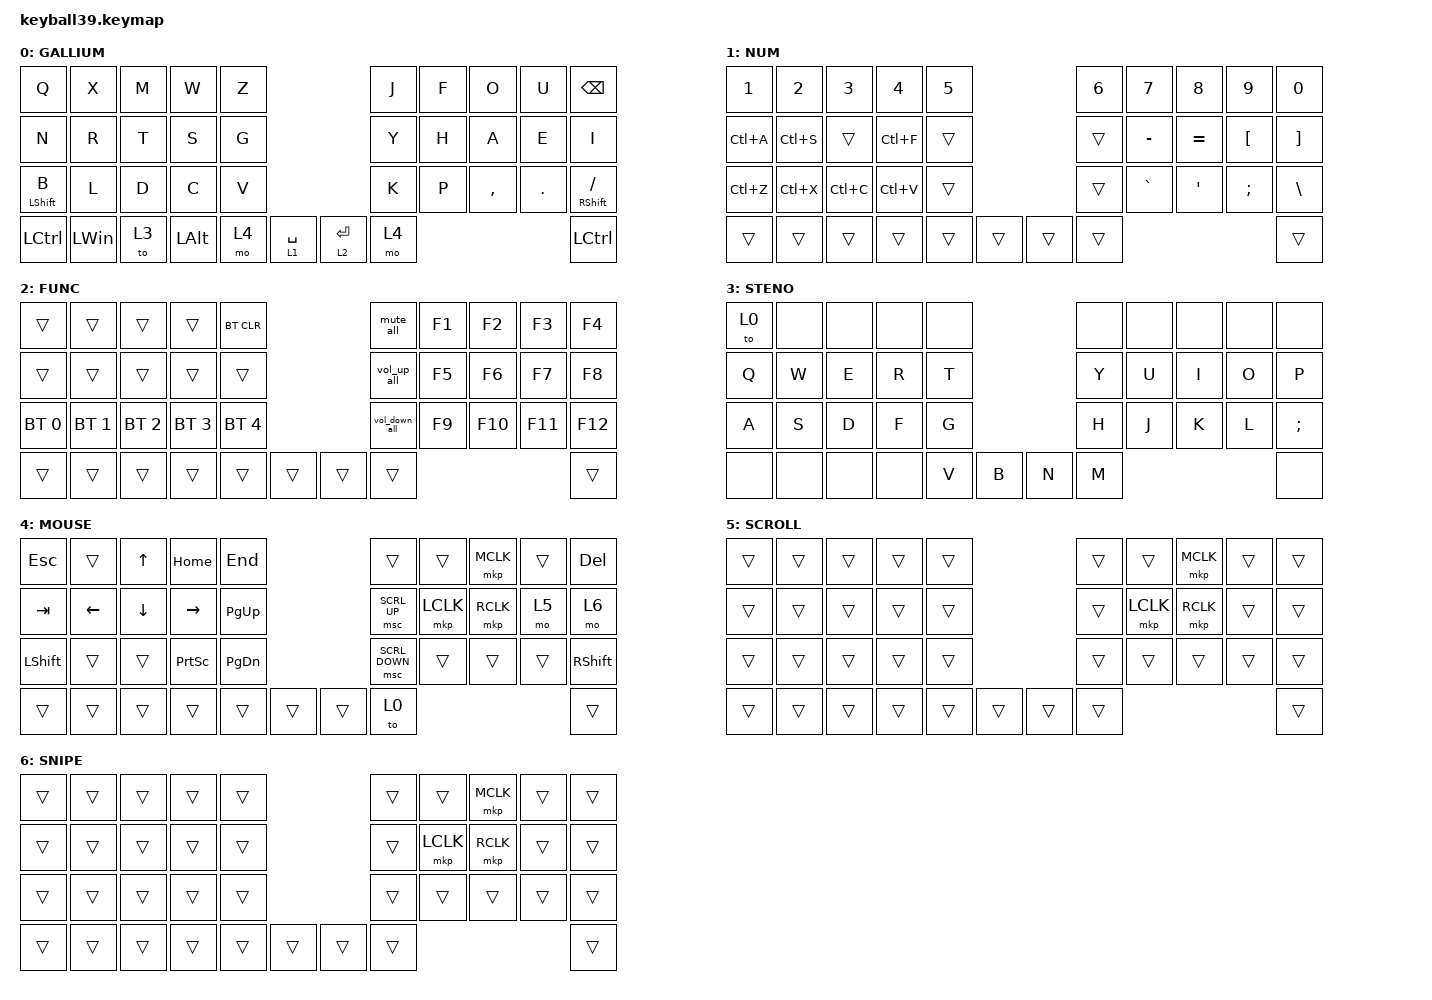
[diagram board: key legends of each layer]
#define DEFAULT 0
#define NUM     1
#define FN      2
#define STENO   3
#define MOUSE   4
#define SCROLL  5
#define SNIPE   6

#include <behaviors/mouse_keys.dtsi>
#include <dt-bindings/zmk/mouse.h>
#include <behaviors.dtsi>
#include <dt-bindings/zmk/bt.h>
#include <dt-bindings/zmk/keys.h>
#include <dt-bindings/zmk/pointing.h>

&lt {
    tapping-term-ms = <240>;
    flavor = "balanced";
    quick-tap-ms = <150>;
};

&mt {
    tapping-term-ms = <200>;
    flavor = "tap-preferred";
    quick-tap-ms = <150>;
};

&caps_word { continue-list = <UNDERSCORE MINUS>; };

/ {
    // custom shift using mod-morph 

    behaviors {
        cmqus: comma_question {
            compatible = "zmk,behavior-mod-morph";
            label = "COMMA_QUESTION";
            #binding-cells = <0>;
            bindings = <&kp COMMA>, <&kp QUESTION>;

            mods = <(MOD_LSFT|MOD_RSFT)>;
        };

        dtsmi: dot_semi {
            compatible = "zmk,behavior-mod-morph";
            label = "DOT_SEMI";
            #binding-cells = <0>;
            bindings = <&kp DOT>, <&kp SEMI>;

            mods = <(MOD_LSFT|MOD_RSFT)>;
        };
    };

    macros {
        Hiragana: Hiragana {
            compatible = "zmk,behavior-macro";
            #binding-cells = <0>;
            bindings = <&kp LC(SPACE)>;
            label = "HIRAGANA";
        };

        mute_all: mute_all {
            compatible = "zmk,behavior-macro";
            #binding-cells = <0>;
            bindings = <&kp C_MUTE &kp K_MUTE>;
            label = "MUTE_ALL";
        };

        vol_up_all: vol_up_all {
            compatible = "zmk,behavior-macro";
            #binding-cells = <0>;
            bindings = <&kp C_VOLUME_UP &kp K_VOLUME_UP>;
            label = "VOL_UP_ALL";
        };

        vol_down_all: vol_down_all {
            compatible = "zmk,behavior-macro";
            #binding-cells = <0>;
            bindings = <&kp C_VOLUME_DOWN &kp K_VOLUME_DOWN>;
            label = "VOL_DOWN_ALL";
        };
    };

    keymap {
        compatible = "zmk,keymap";

        Gallium_Layer {
            label = "GALLIUM";
            bindings = <
&kp Q             &kp X         &kp M  &kp W         &kp Z                            &kp J  &kp F  &kp O      &kp U    &kp BACKSPACE
&kp N             &kp R         &kp T  &kp S         &kp G                            &kp Y  &kp H  &kp A      &kp E    &kp I
&mt LEFT_SHIFT B  &kp L         &kp D  &kp C         &kp V                            &kp K  &kp P  &kp COMMA  &kp DOT  &mt RIGHT_SHIFT SLASH
&kp LCTRL         &kp LEFT_WIN  &to 3  &kp LEFT_ALT  &mo 4  &lt 1 SPACE  &lt 2 ENTER  &mo 4                             &kp LCTRL
            >;
        };

        Number_Layer {
            label = "NUM";
            bindings = <
&kp NUMBER_1  &kp NUMBER_2  &kp NUMBER_3  &kp NUMBER_4  &kp NUMBER_5                  &kp NUMBER_6  &kp NUMBER_7  &kp NUMBER_8  &kp NUMBER_9  &kp NUMBER_0
&kp LC(A)     &kp LC(S)     &trans        &kp LC(F)     &trans                        &trans        &kp MINUS     &kp EQUAL     &kp LBKT      &kp RBKT
&kp LC(Z)     &kp LC(X)     &kp LC(C)     &kp LC(V)     &trans                        &trans        &kp GRAVE     &kp APOS      &kp SEMI      &kp BSLH
&trans        &trans        &trans        &trans        &trans        &trans  &trans  &trans                                                  &trans
            >;
        };

        Function_Layer {
            label = "FUNC";
            bindings = <
&trans        &trans        &trans        &trans        &bt BT_CLR                    &mute_all      &kp F1  &kp F2   &kp F3   &kp F4
&trans        &trans        &trans        &trans        &trans                        &vol_up_all    &kp F5  &kp F6   &kp F7   &kp F8
&bt BT_SEL 0  &bt BT_SEL 1  &bt BT_SEL 2  &bt BT_SEL 3  &bt BT_SEL 4                  &vol_down_all  &kp F9  &kp F10  &kp F11  &kp F12
&trans        &trans        &trans        &trans        &trans        &trans  &trans  &trans                                   &trans
            >;
        };

        Stenography_Layer {
            bindings = <
&to 0  &none  &none  &none  &none                &none  &none  &none  &none  &none
&kp Q  &kp W  &kp E  &kp R  &kp T                &kp Y  &kp U  &kp I  &kp O  &kp P
&kp A  &kp S  &kp D  &kp F  &kp G                &kp H  &kp J  &kp K  &kp L  &kp SEMI
&none  &none  &none  &none  &kp V  &kp B  &kp N  &kp M                       &none
            >;

            label = "STENO";
        };

        Mouse_Layer {
            label = "MOUSE";
            bindings = <
&kp ESCAPE      &trans    &kp UP    &kp HOME         &kp END                        &trans          &trans     &mkp MCLK  &trans  &kp DELETE
&kp TAB         &kp LEFT  &kp DOWN  &kp RIGHT        &kp PAGE_UP                    &msc SCRL_UP    &mkp LCLK  &mkp RCLK  &mo 5   &mo 6
&kp LEFT_SHIFT  &trans    &trans    &kp PRINTSCREEN  &kp PAGE_DOWN                  &msc SCRL_DOWN  &trans     &trans     &trans  &kp RIGHT_SHIFT
&trans          &trans    &trans    &trans           &trans         &trans  &trans  &to 0                                         &trans
            >;
        };

        Scroll_Layer {
            label = "SCROLL";
            bindings = <
&trans  &trans  &trans  &trans  &trans                  &trans  &trans     &mkp MCLK  &trans  &trans
&trans  &trans  &trans  &trans  &trans                  &trans  &mkp LCLK  &mkp RCLK  &trans  &trans
&trans  &trans  &trans  &trans  &trans                  &trans  &trans     &trans     &trans  &trans
&trans  &trans  &trans  &trans  &trans  &trans  &trans  &trans                                &trans
            >;
        };

        Snipe_Layer {
            label = "SNIPE";
            bindings = <
&trans  &trans  &trans  &trans  &trans                  &trans  &trans     &mkp MCLK  &trans  &trans
&trans  &trans  &trans  &trans  &trans                  &trans  &mkp LCLK  &mkp RCLK  &trans  &trans
&trans  &trans  &trans  &trans  &trans                  &trans  &trans     &trans     &trans  &trans
&trans  &trans  &trans  &trans  &trans  &trans  &trans  &trans                                &trans
            >;
        };
    };
};
